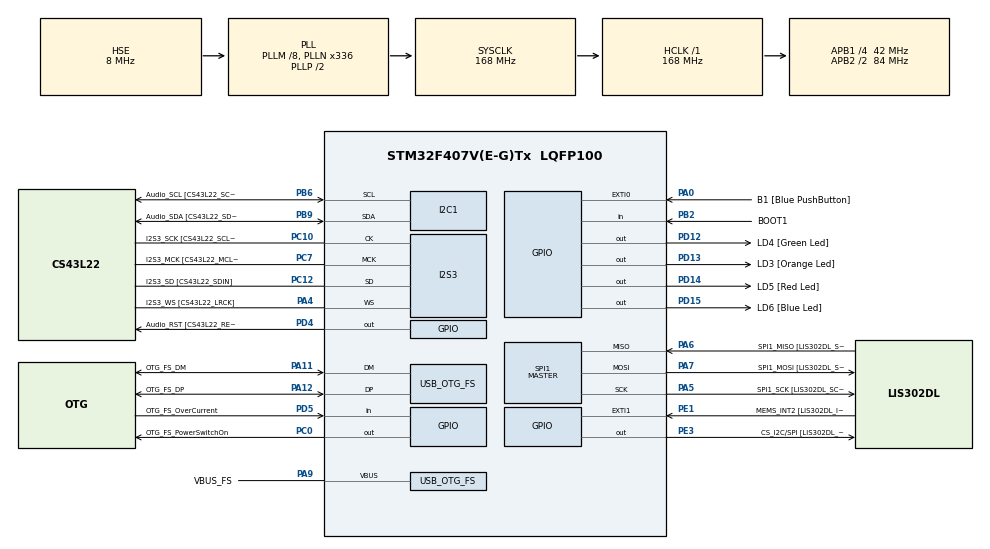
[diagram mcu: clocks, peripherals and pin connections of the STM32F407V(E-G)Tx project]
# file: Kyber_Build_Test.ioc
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I2S3.AudioFreq-Half_Duplex_Master=I2S_AUDIOFREQ_96K
I2S3.ErrorAudioFreq=-2.34 %
I2S3.ErrorAudioFreq-Half_Duplex_Master=0.8 %
I2S3.FullDuplexMode=I2S_FULLDUPLEXMODE_DISABLE
I2S3.Instance=SPI$Index
I2S3.RealAudioFreq=93.75 KHz
I2S3.RealAudioFreq-Half_Duplex_Master=96.774 KHz
I2S3.VirtualMode=I2S_MODE_MASTER
Mcu.Family=STM32F4
Mcu.Name=STM32F407V(E-G)Tx
Mcu.Package=LQFP100
NVIC.OTG_FS_IRQn=true\:0\:0\:false\:false\:true\:true\:true\:true
NVIC.PriorityGroup=NVIC_PRIORITYGROUP_0
PA0-WKUP.GPIO_Label=B1 [Blue PushButton]
PA0-WKUP.GPIO_ModeDefaultEXTI=GPIO_MODE_EVT_RISING
PA0-WKUP.GPIO_PuPd=GPIO_NOPULL
PA0-WKUP.Signal=GPXTI0
PA10.GPIO_Label=OTG_FS_ID
PA10.GPIO_Mode=GPIO_MODE_AF_PP
PA10.GPIO_PuPd=GPIO_NOPULL
PA10.GPIO_Speed=GPIO_SPEED_FREQ_LOW
PA10.Signal=USB_OTG_FS_ID
PA11.GPIO_Label=OTG_FS_DM
PA11.GPIO_Mode=GPIO_MODE_AF_PP
PA11.GPIO_PuPd=GPIO_NOPULL
PA11.GPIO_Speed=GPIO_SPEED_FREQ_LOW
PA11.Mode=Host_Only
PA11.Signal=USB_OTG_FS_DM
PA12.GPIO_Label=OTG_FS_DP
PA12.GPIO_Mode=GPIO_MODE_AF_PP
PA12.GPIO_PuPd=GPIO_NOPULL
PA12.GPIO_Speed=GPIO_SPEED_FREQ_LOW
PA12.Mode=Host_Only
PA12.Signal=USB_OTG_FS_DP
PA13.GPIO_Label=SWDIO
PA13.Mode=Serial_Wire
PA13.Signal=SYS_JTMS-SWDIO
PA14.GPIO_Label=SWCLK
PA14.Mode=Serial_Wire
PA14.Signal=SYS_JTCK-SWCLK
PA4.GPIO_Label=I2S3_WS [CS43L22_LRCK]
PA4.GPIO_Mode=GPIO_MODE_AF_PP
PA4.GPIO_PuPd=GPIO_NOPULL
PA4.GPIO_Speed=GPIO_SPEED_FREQ_LOW
PA4.Mode=Half_Duplex_Master
PA4.Signal=I2S3_WS
PA5.GPIO_Label=SPI1_SCK [LIS302DL_SCL/SPC]
PA5.GPIO_Mode=GPIO_MODE_AF_PP
PA5.GPIO_PuPd=GPIO_NOPULL
PA5.GPIO_Speed=GPIO_SPEED_FREQ_LOW
PA5.Mode=Full_Duplex_Master
PA5.Signal=SPI1_SCK
PA6.GPIO_Label=SPI1_MISO [LIS302DL_SDO]
PA6.GPIO_Mode=GPIO_MODE_AF_PP
PA6.GPIO_PuPd=GPIO_NOPULL
PA6.GPIO_Speed=GPIO_SPEED_FREQ_LOW
PA6.Mode=Full_Duplex_Master
PA6.Signal=SPI1_MISO
PA7.GPIO_Label=SPI1_MOSI [LIS302DL_SDA/SDI/SDO]
PA7.GPIO_Mode=GPIO_MODE_AF_PP
PA7.GPIO_PuPd=GPIO_NOPULL
PA7.GPIO_Speed=GPIO_SPEED_FREQ_LOW
PA7.Mode=Full_Duplex_Master
PA7.Signal=SPI1_MOSI
PA9.GPIO_Label=VBUS_FS
PA9.GPIO_Mode=GPIO_MODE_INPUT
PA9.GPIO_PuPd=GPIO_NOPULL
PA9.Mode=Activate_VBUS
PA9.Signal=USB_OTG_FS_VBUS
PB10.GPIO_Label=CLK_IN [MP45DT02_CLK]
PB10.GPIO_Mode=GPIO_MODE_AF_PP
PB10.GPIO_PuPd=GPIO_NOPULL
PB10.GPIO_Speed=GPIO_SPEED_FREQ_LOW
PB10.Signal=I2S2_CK
PB2.GPIO_Label=BOOT1
PB2.GPIO_Mode=GPIO_MODE_INPUT
PB2.GPIO_PuPd=GPIO_NOPULL
PB2.Signal=GPIO_Input
PB3.GPIO_Label=SWO
PB3.Signal=SYS_JTDO-SWO
PB6.GPIO_Label=Audio_SCL [CS43L22_SCL]
PB6.GPIO_Mode=GPIO_MODE_AF_OD
PB6.GPIO_Pu=GPIO_PULLUP
PB6.GPIO_PuPd=GPIO_NOPULL
PB6.GPIO_Speed=GPIO_SPEED_FREQ_LOW
PB6.Mode=I2C
PB6.Signal=I2C1_SCL
PB9.GPIO_Label=Audio_SDA [CS43L22_SDA]
PB9.GPIO_Mode=GPIO_MODE_AF_OD
PB9.GPIO_Pu=GPIO_PULLUP
PB9.GPIO_PuPd=GPIO_NOPULL
PB9.GPIO_Speed=GPIO_SPEED_FREQ_LOW
PB9.Mode=I2C
PB9.Signal=I2C1_SDA
PC0.GPIO_Label=OTG_FS_PowerSwitchOn
PC0.GPIO_PuPd=GPIO_NOPULL
PC0.GPIO_Speed=GPIO_SPEED_FREQ_LOW
PC0.PinState=GPIO_PIN_SET
PC0.Signal=GPIO_Output
PC10.GPIO_Label=I2S3_SCK [CS43L22_SCLK]
PC10.GPIO_Mode=GPIO_MODE_AF_PP
PC10.GPIO_PuPd=GPIO_NOPULL
PC10.GPIO_Speed=GPIO_SPEED_FREQ_LOW
PC10.Mode=Half_Duplex_Master
PC10.Signal=I2S3_CK
PC12.GPIO_Label=I2S3_SD [CS43L22_SDIN]
PC12.GPIO_Mode=GPIO_MODE_AF_PP
PC12.GPIO_PuPd=GPIO_NOPULL
PC12.GPIO_Speed=GPIO_SPEED_FREQ_LOW
PC12.Mode=Half_Duplex_Master
PC12.Signal=I2S3_SD
PC14-OSC32_IN.GPIO_Label=PC14-OSC32_IN
PC14-OSC32_IN.Mode=LSE-External-Oscillator
PC14-OSC32_IN.Signal=RCC_OSC32_IN
PC15-OSC32_OUT.GPIO_Label=PC15-OSC32_OUT
PC15-OSC32_OUT.Mode=LSE-External-Oscillator
PC15-OSC32_OUT.Signal=RCC_OSC32_OUT
PC3.GPIO_Label=PDM_OUT [MP45DT02_DOUT]
PC3.GPIO_Mode=GPIO_MODE_AF_PP
PC3.GPIO_PuPd=GPIO_NOPULL
PC3.GPIO_Speed=GPIO_SPEED_FREQ_LOW
PC3.Signal=I2S2_SD
PC7.GPIO_Label=I2S3_MCK [CS43L22_MCLK]
PC7.GPIO_Mode=GPIO_MODE_AF_PP
PC7.GPIO_PuPd=GPIO_NOPULL
PC7.GPIO_Speed=GPIO_SPEED_FREQ_LOW
PC7.Mode=Master_Clock_Activated
PC7.Signal=I2S3_MCK
PD12.GPIO_Label=LD4 [Green Led]
PD12.GPIO_PuPd=GPIO_NOPULL
PD12.GPIO_Speed=GPIO_SPEED_FREQ_LOW
PD12.Signal=GPIO_Output
PD13.GPIO_Label=LD3 [Orange Led]
PD13.GPIO_PuPd=GPIO_NOPULL
PD13.GPIO_Speed=GPIO_SPEED_FREQ_LOW
PD13.Signal=GPIO_Output
PD14.GPIO_Label=LD5 [Red Led]
PD14.GPIO_PuPd=GPIO_NOPULL
PD14.GPIO_Speed=GPIO_SPEED_FREQ_LOW
PD14.Signal=GPIO_Output
PD15.GPIO_Label=LD6 [Blue Led]
PD15.GPIO_PuPd=GPIO_NOPULL
PD15.GPIO_Speed=GPIO_SPEED_FREQ_LOW
PD15.Signal=GPIO_Output
PD4.GPIO_Label=Audio_RST [CS43L22_RESET]
PD4.GPIO_PuPd=GPIO_NOPULL
PD4.GPIO_Speed=GPIO_SPEED_FREQ_LOW
PD4.Signal=GPIO_Output
PD5.GPIO_Label=OTG_FS_OverCurrent
PD5.GPIO_Mode=GPIO_MODE_INPUT
PD5.GPIO_PuPd=GPIO_NOPULL
PD5.Signal=GPIO_Input
PE1.GPIO_Label=MEMS_INT2 [LIS302DL_INT2]
PE1.GPIO_ModeDefaultEXTI=GPIO_MODE_EVT_RISING
PE1.GPIO_PuPd=GPIO_NOPULL
PE1.Signal=GPXTI1
PE3.GPIO_Label=CS_I2C/SPI [LIS302DL_CS_I2C/SPI]
PE3.GPIO_PuPd=GPIO_NOPULL
PE3.GPIO_Speed=GPIO_SPEED_FREQ_LOW
PE3.Signal=GPIO_Output
PH0-OSC_IN.GPIO_Label=PH0-OSC_IN
PH0-OSC_IN.Mode=HSE-External-Oscillator
PH0-OSC_IN.Signal=RCC_OSC_IN
PH1-OSC_OUT.GPIO_Label=PH1-OSC_OUT
PH1-OSC_OUT.Mode=HSE-External-Oscillator
PH1-OSC_OUT.Signal=RCC_OSC_OUT
ProjectManager.HeapSize=0x200
ProjectManager.StackSize=0x400
ProjectManager.TargetToolchain=STM32CubeIDE
RCC.48MHZClocksFreq_Value=48000000
RCC.AHBFreq_Value=168000000
RCC.APB1CLKDivider=RCC_HCLK_DIV4
RCC.APB1Freq_Value=42000000
RCC.APB1TimFreq_Value=84000000
RCC.APB2CLKDivider=RCC_HCLK_DIV2
RCC.APB2Freq_Value=84000000
RCC.APB2TimFreq_Value=168000000
RCC.CortexFreq_Value=168000000
RCC.HCLKFreq_Value=168000000
RCC.HSE_VALUE=8000000
RCC.HSI_VALUE=16000000
RCC.PLLM=8
RCC.PLLN=336
RCC.PLLQ=7
RCC.SYSCLKFreq_VALUE=168000000
RCC.SYSCLKSource=RCC_SYSCLKSOURCE_PLLCLK
RCC.VCOOutputFreq_Value=336000000
SPI1.BaudRatePrescaler-Full_Duplex_Master=SPI_BAUDRATEPRESCALER_2
SPI1.CalculateBaudRate-Full_Duplex_Master=42.0 MBits/s
SPI1.Direction=SPI_DIRECTION_2LINES
SPI1.Mode=SPI_MODE_MASTER
SPI1.Mode-Full_Duplex_Master=SPI_MODE_MASTER
SPI1.VirtualType=VM_MASTER
USB_HOST.BSP.number=1
USB_HOST.USBH_HandleTypeDef-CDC_FS=hUsbHostFS
USB_HOST.VirtualModeFS=Cdc
USB_HOST0.BSP.STBoard=false
USB_HOST0.BSP.api=Unknown
USB_HOST0.BSP.instance=PC0
USB_HOST0.BSP.ip=GPIO
USB_HOST0.BSP.mode=Output
USB_HOST0.BSP.name=Drive_VBUS_FS
USB_HOST0.BSP.solution=PC0
USB_OTG_FS.VirtualMode=Host_Only
USB_OTG_FS.phy_itface=HCD_PHY_EMBEDDED
VP_RNG_VS_RNG.Mode=RNG_Activate
VP_USB_HOST_VS_USB_HOST_CDC_FS.Mode=CDC_FS
board=STM32F407G-DISC1

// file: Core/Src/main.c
/* USER CODE BEGIN Header */
/**
  ******************************************************************************
  * @file           : main.c
  * @brief          : Main program body
  ******************************************************************************
  * @attention
  *
  * Copyright (c) 2026 STMicroelectronics.
  * All rights reserved.
  *
  * This software is licensed under terms that can be found in the LICENSE file
  * in the root directory of this software component.
  * If no LICENSE file comes with this software, it is provided AS-IS.
  *
  ******************************************************************************
  */
/* USER CODE END Header */
#include "main.h"
#include "usb_host.h"

/* USER CODE BEGIN Includes */
#include "api.h"
#include "mldsa_api.h"
#include <string.h>
#include "randombytes.h"
#include "fips202.h" // Dùng hàm băm SHA3-256 có sẵn cho KDF và HMAC
#include <math.h>        // THÊM: Cần cho các hàm toán học của TDA
#include <stdio.h>
#include <stdlib.h> // THÊM DÒNG NÀY để hết lỗi 'rand'
#include "hmac_hkdf.h"

// TUYỆT CHIÊU: Tự khai báo 3 hàm của ML-DSA-44 để né xung đột Macro
//int crypto_sign_keypair(uint8_t *pk, uint8_t *sk);
//int crypto_sign(uint8_t *sm, size_t *smlen, const uint8_t *msg, size_t len, const uint8_t *sk);
//int crypto_sign_open(uint8_t *m, size_t *mlen, const uint8_t *sm, size_t smlen, const uint8_t *pk);
/* USER CODE END Includes */

/* USER CODE BEGIN PTD */
#define WINDOW_SIZE 40
#define FEATURE_DIM 10
#define Q_STEP 1.0f
/* USER CODE END PTD */

I2C_HandleTypeDef hi2c1;

I2S_HandleTypeDef hi2s3;

RNG_HandleTypeDef hrng;

SPI_HandleTypeDef hspi1;

/* USER CODE BEGIN PV */
// NHẤN MẠNH 1: Đưa các biến kết quả ra toàn cục để dễ quan sát Value (không phải Address)
volatile uint32_t result_classical = 0;
volatile uint32_t result_hybrid = 0;
volatile uint32_t result_kemtls = 0;
// volatile uint32_t result_pqtls = 0;
volatile uint32_t result_topokyber = 0;
volatile uint32_t result_pqtls = 0; // Biến xem cycles của Kyber+Dilithium
volatile uint32_t total_cycles = 0;

// --- THÊM MỚI: CÁC BIẾN LƯU BỘ NHỚ RAM (Hiển thị trực tiếp trên Live Expressions) ---
volatile uint32_t ram_classical = 0;
volatile uint32_t ram_hybrid = 0;
volatile uint32_t ram_kemtls = 0;
volatile uint32_t ram_topokyber = 0; // Gồm cả Static RAM và Stack xử lý TDA
volatile uint32_t ram_pqtls = 0;

#define SAMPLES 40
#define FEAT_LEN 10
#define Q_STEP 1.0f

// Dữ liệu RSSI thực tế trích xuất từ PCAP
const float test_rssi_alice[40] = {-84,-84,-83,-84,-84,-84,-84,-84,-85,-84,-89,-84,-84,-85,-84,-85,-85,-83,-85,-84,-83,-83,-86,-85,-84,-84,-84,-84,-83,-84,-85,-85,-85,-83,-86,-86,-84,-84,-84,-83};
const float test_rssi_bob[40]   = {-83, -86, -85, -85, -85, -83, -85, -81, -85, -85, -85, -85, -84, -86, -84, -85, -85, -84, -84, -86, -86, -86, -83, -83, -84, -85, -86, -84, -86, -84,-85, -85, -85, -85, -85, -85, -84, -87, -86, -85};

// Ma trận ZCA Whitening (Đã tính toán offline từ phân phối RSSI của thiết bị)
const float ZCA_Matrix[2][2] = {
    {1.1542f, -0.0123f},
    {-0.0123f, 1.1542f}
};
/* USER CODE END PV */

void SystemClock_Config(void);
static void MX_GPIO_Init(void);
static void MX_I2C1_Init(void);
static void MX_I2S3_Init(void);
static void MX_RNG_Init(void);
static void MX_SPI1_Init(void);
void MX_USB_HOST_Process(void);

/* USER CODE BEGIN PFP */
// THÊM: Khai báo hàm cho Topo-Kyber
void run_micro_tda(const float* rssi, float* features_out);
void benchmark_Topo_Kyber(void);

// THÊM DÒNG NÀY: Khai báo hàm benchmark tổng hợp
void benchmark_All_Protocols(void);

/* USER CODE END PFP */

/* USER CODE BEGIN 0 */
#include "uECC.h"
// THÊM HÀM NÀY ĐỂ ĐỌC BỘ ĐẾM CHU KỲ
uint32_t get_cycles(void) {
    return DWT->CYCCNT;
}
// Lưu ý: Bạn cần có sẵn các thư viện của Kyber (#include "api.h", v.v.)
// và hàm get_cycles() mà bạn vẫn đang dùng để đo.

// =========================================================================
// HÀM BỔ TRỢ: Bắt buộc phải có để uECC sinh được số ngẫu nhiên
// =========================================================================
int fake_rng(uint8_t *dest, unsigned size) {
    // Đây chỉ là hàm tạo số ngẫu nhiên giả để benchmark đo thời gian
    for (unsigned i = 0; i < size; ++i) {
        dest[i] = (uint8_t)(i ^ 0xAA);
    }
    return 1;
}

// =========================================================================
// 1. ĐO LƯỜNG CLASSICAL TLS 1.3 (Sử dụng đường cong secp256r1)
// =========================================================================
void benchmark_Classical_TLS(void) {
    static uint8_t public_key_client[64], private_key_client[32];
    static uint8_t public_key_server[64], private_key_server[32];
    static uint8_t shared_secret_client[32], shared_secret_server[32];

    // Khóa dài hạn ECDSA của Server (Nằm trong Chứng chỉ số - Sinh ngoài vòng đo)
    static uint8_t auth_pk_server[64], auth_sk_server[32];
    static uint8_t hash[32] = {0x12, 0x34};
    static uint8_t signature[64];

    uECC_set_rng(&fake_rng);
    const struct uECC_Curve_t * curve = uECC_secp256r1();

    // SỬA CHUẨN: Sinh trước khóa xác thực tĩnh để không tính vào chu kỳ Handshake
    uECC_make_key(auth_pk_server, auth_sk_server, curve);

    uint32_t start, end;
    start = get_cycles();

    // --- PHA 1: THỎA THUẬN KHÓA (ECDHE Key Exchange) ---
    uECC_make_key(public_key_client, private_key_client, curve);
    uECC_make_key(public_key_server, private_key_server, curve);
    uECC_shared_secret(public_key_server, private_key_client, shared_secret_client, curve);
    uECC_shared_secret(public_key_client, private_key_server, shared_secret_server, curve);

    // --- PHA 2: XÁC THỰC (ECDSA Authentication) ---
    uECC_sign(auth_sk_server, hash, sizeof(hash), signature, curve);
    uECC_verify(auth_pk_server, hash, sizeof(hash), signature, curve);

    end = get_cycles();
    result_classical = end - start;
}

// =========================================================================
// 2. ĐO LƯỜNG HYBRID TLS 1.3 (ECC + Kyber)
// =========================================================================
void benchmark_Hybrid_TLS(void) {
    static uint8_t public_key_client[64], private_key_client[32];
    static uint8_t public_key_server[64], private_key_server[32];
    static uint8_t shared_secret_ecc_client[32], shared_secret_ecc_server[32];

    static uint8_t auth_pk_server[64], auth_sk_server[32];
    static uint8_t hash[32] = {0x12, 0x34};
    static uint8_t signature[64];

    static uint8_t pk[CRYPTO_PUBLICKEYBYTES];
    static uint8_t sk[CRYPTO_SECRETKEYBYTES];
    static uint8_t ct[CRYPTO_CIPHERTEXTBYTES];
    static uint8_t ss_server[CRYPTO_BYTES], ss_client[CRYPTO_BYTES];

    uECC_set_rng(&fake_rng);
    const struct uECC_Curve_t * curve = uECC_secp256r1();
    uECC_make_key(auth_pk_server, auth_sk_server, curve);

    uint32_t start, end;
    start = get_cycles();

    // --- PHA 1: Thỏa thuận & Xác thực bằng Cổ điển (ECC) ---
    uECC_make_key(public_key_client, private_key_client, curve);
    uECC_make_key(public_key_server, private_key_server, curve);

    // SỬA LỖI 1: Gọi đủ 2 lần tính toán shared secret phía ECC cho đúng thực tế máy trạm và máy chủ
    uECC_shared_secret(public_key_server, private_key_client, shared_secret_ecc_client, curve);
    uECC_shared_secret(public_key_client, private_key_server, shared_secret_ecc_server, curve);

    uECC_sign(auth_sk_server, hash, sizeof(hash), signature, curve);
    uECC_verify(auth_pk_server, hash, sizeof(hash), signature, curve);

    // --- PHA 2: Thêm lớp Thỏa thuận khóa Lượng tử (Kyber) ---
    crypto_kem_keypair(pk, sk);
    crypto_kem_enc(ct, ss_server, pk);
    crypto_kem_dec(ss_client, ct, sk);

    end = get_cycles();
    result_hybrid = end - start;
}

// =========================================================================
// 3. ĐO LƯỜNG KEMTLS (Dùng 100% Kyber, Bỏ hoàn toàn chữ ký số)
// =========================================================================
void benchmark_KEMTLS(void) {
    // Biến cho Ephemeral KEM (Thỏa thuận khóa ngắn hạn)
    static uint8_t ephem_pk[CRYPTO_PUBLICKEYBYTES], ephem_sk[CRYPTO_SECRETKEYBYTES];
    static uint8_t ephem_ct[CRYPTO_CIPHERTEXTBYTES], ephem_ss_server[CRYPTO_BYTES], ephem_ss_client[CRYPTO_BYTES];

    // Biến cho Long-term KEM (Xác thực thực thể bằng KEM - Thay thế Certificate)
    static uint8_t auth_pk[CRYPTO_PUBLICKEYBYTES], auth_sk[CRYPTO_SECRETKEYBYTES];
    static uint8_t auth_ct[CRYPTO_CIPHERTEXTBYTES], auth_ss_server[CRYPTO_BYTES], auth_ss_client[CRYPTO_BYTES];

    // SỬA LỖI 2: Cặp khóa xác thực tĩnh được sinh từ trước (Nằm sẵn trong cấu hình thiết bị)
    crypto_kem_keypair(auth_pk, auth_sk);

    uint32_t start, end;
    start = get_cycles();

    // --- PHA 1: Ephemeral KEM Exchange (Thay thế ECDHE) ---
    crypto_kem_keypair(ephem_pk, ephem_sk);
    crypto_kem_enc(ephem_ct, ephem_ss_server, ephem_pk);
    crypto_kem_dec(ephem_ss_client, ephem_ct, ephem_sk);

    // --- PHA 2: Long-term KEM Auth (Đúng chuẩn KEMTLS) ---
    // SỬA: BỎ HOÀN TOÀN crypto_kem_keypair(auth_pk, auth_sk). Handshake chỉ có Encaps và Decaps
    crypto_kem_enc(auth_ct, auth_ss_client, auth_pk);
    crypto_kem_dec(auth_ss_server, auth_ct, auth_sk);

    end = get_cycles();
    result_kemtls = end - start;
}

// =========================================================================
// 4. ĐO LƯỜNG TOPO-KYBER
// =========================================================================

// Hàm Micro-TDA: Tích hợp ZCA + Takens + Vietoris-Rips Approximation
void run_micro_tda(const float* rssi_in, float* features_out) {
    float points_2d[SAMPLES-1][2];

    // 1. TAKENS EMBEDDING (d=2, tau=1) kết hợp ZCA WHITENING
    for(int i = 0; i < SAMPLES-1; i++) {
        // Center dữ liệu (trừ đi trung bình RSSI thường là -85dBm)
        float raw_x = rssi_in[i] + 85.0f;
        float raw_y = rssi_in[i+1] + 85.0f;

        // Nhân ma trận ZCA để khử tương quan chuỗi thời gian
        points_2d[i][0] = raw_x * ZCA_Matrix[0][0] + raw_y * ZCA_Matrix[0][1];
        points_2d[i][1] = raw_x * ZCA_Matrix[1][0] + raw_y * ZCA_Matrix[1][1];
    }

    // 2. VIETORIS-RIPS PROXY (Tính đặc trưng mật độ khoảng cách)
    for(int k = 0; k < FEAT_LEN; k++) {
        features_out[k] = 0.0f;
        for(int j = 0; j < SAMPLES-1; j++) {
            float dx = points_2d[k][0] - points_2d[j][0];
            float dy = points_2d[k][1] - points_2d[j][1];
            features_out[k] += sqrtf(dx*dx + dy*dy);
        }
        features_out[k] /= (SAMPLES-1); // Đặc trưng hình thái topo
    }
}
void benchmark_Topo_Kyber(void) {
    volatile uint32_t t0, t1;
    volatile uint32_t cyc_alice_total, cyc_bob_total;

    // Các biến định danh và tính toán vật lý (TDA)
    uint8_t id_A[32] = {0x01}, id_B[32] = {0x02};
    uint8_t s_A[32], s_B[32], h_hash[32], sid[32];
    float feat_A[FEATURE_DIM], feat_B[FEATURE_DIM], helper[FEATURE_DIM], r_q_vector[FEATURE_DIM];
    int32_t K_int_A[FEATURE_DIM], K_int_B[FEATURE_DIM];

    // --- CẤU TRÚC 2 CẶP KHÓA THEO ĐÚNG PHẢN BIỆN ---
    // Lớp 1: wrap-KEM
    static uint8_t pk_A_wrap[CRYPTO_PUBLICKEYBYTES], sk_A_wrap[CRYPTO_SECRETKEYBYTES];
    static uint8_t ct_wrap[CRYPTO_CIPHERTEXTBYTES];
    static uint8_t k_seed_A_wrap[CRYPTO_BYTES], k_seed_B_wrap[CRYPTO_BYTES];

    // Lớp 2: main-AKE-KEM
    static uint8_t pk_B_main[CRYPTO_PUBLICKEYBYTES], sk_B_main[CRYPTO_SECRETKEYBYTES];
    static uint8_t ct_main[CRYPTO_CIPHERTEXTBYTES];
    static uint8_t k_seed_A_main[CRYPTO_BYTES], k_seed_B_main[CRYPTO_BYTES];

    // Biến lưu khóa phiên cuối cùng
    uint8_t k_session_A[32], k_session_B[32];

    // Bật bộ đếm xung nhịp phần cứng DWT
    CoreDebug->DEMCR |= CoreDebug_DEMCR_TRCENA_Msk;
    DWT->CYCCNT = 0; DWT->CTRL |= DWT_CTRL_CYCCNTENA_Msk;

    // ====================================================================
    // 1. PHÍA ALICE (Giai đoạn gửi gói: TDA + Sinh Sketch + wrap-KeyGen)
    // ====================================================================
    t0 = DWT->CYCCNT;

    run_micro_tda(test_rssi_alice, feat_A);

    // SỬA FATAL-2: Sử dụng TRNG phần cứng thay thế hoàn toàn hàm rand() lỗi
    uint32_t rng_val;
    for(int i = 0; i < FEATURE_DIM; i++) {
        HAL_RNG_GenerateRandomNumber(&hrng, &rng_val); // Lấy số ngẫu nhiên thực thể từ chip
        r_q_vector[i] = ((float)rng_val / (float)0xFFFFFFFF) * Q_STEP - (Q_STEP / 2.0f); // Phân phối đều U(-Q/2, Q/2)

        K_int_A[i] = (int32_t)floorf((feat_A[i] + r_q_vector[i]) / Q_STEP);
        helper[i] = (feat_A[i] + r_q_vector[i]) - ((float)K_int_A[i] * Q_STEP);
    }
    sha3_256(s_A, (uint8_t*)K_int_A, FEATURE_DIM * sizeof(int32_t));
    sha3_256(h_hash, (uint8_t*)helper, FEATURE_DIM * sizeof(float));

    // Thao tác KEM 1 của Alice: Sinh cặp khóa bảo vệ (wrap-KEM)
    crypto_kem_keypair(pk_A_wrap, sk_A_wrap);

    // Giả định gói tin (pk_A_wrap, r_q_vector, helper) được truyền sang Bob...
    t1 = DWT->CYCCNT;
    cyc_alice_total = (t1 - t0); // Ghi nhận thời gian phase 1 của Alice

    // ====================================================================
    // 2. PHÍA BOB (Nhận gói: TDA + Khôi phục Sketch + wrap-Encaps + main-KeyGen)
    // ====================================================================
    t0 = DWT->CYCCNT;

    run_micro_tda(test_rssi_bob, feat_B);

    // Khôi phục khóa vật lý dựa trên helper nhận từ Alice
    for(int i = 0; i < FEATURE_DIM; i++) {
        K_int_B[i] = (int32_t)roundf((feat_B[i] + r_q_vector[i] - helper[i]) / Q_STEP);
    }
    sha3_256(s_B, (uint8_t*)K_int_B, FEATURE_DIM * sizeof(int32_t));

    // Thao tác KEM 1 của Bob: Đóng gói khóa lớp ngoài (wrap-Encaps) hướng tới Alice
    crypto_kem_enc(ct_wrap, k_seed_B_wrap, pk_A_wrap);

    // Thao tác KEM 2 của Bob (Yêu cầu phản biện): Tự sinh cặp khóa AKE chính chủ (main-KeyGen)
    crypto_kem_keypair(pk_B_main, sk_B_main);

    // Tính Session ID cho phiên làm việc
    uint8_t sid_buf[64];
    memcpy(sid_buf, id_A, 32); memcpy(sid_buf + 32, id_B, 32);
    sha3_256(sid, sid_buf, 64);

    // Giả định gói tin (ct_wrap, pk_B_main) được truyền trả lại Alice...
    t1 = DWT->CYCCNT;
    cyc_bob_total = (t1 - t0);

    // ====================================================================
    // 3. PHÍA ALICE (Nhận phản hồi: wrap-Decaps + main-Encaps + KDF)
    // ====================================================================
    t0 = DWT->CYCCNT;

    // Thao tác KEM 2 của Alice: Giải gói lớp ngoài để lấy k_seed_wrap
    crypto_kem_dec(k_seed_A_wrap, ct_wrap, sk_A_wrap);

    // Thao tác KEM 3 của Alice (Yêu cầu phản biện): Đóng gói ngược lại khóa lớp trong (main-Encaps) hướng tới Bob
    crypto_kem_enc(ct_main, k_seed_A_main, pk_B_main);

    // Trộn toàn bộ các thành phần (wrap-seed, main-seed, vật lý-seed TDA) vào KDF final của Alice
    uint8_t kdf_buf_A[128];
    memcpy(kdf_buf_A, k_seed_A_wrap, 32);
    memcpy(kdf_buf_A + 32, k_seed_A_main, 32);
    memcpy(kdf_buf_A + 64, s_A, 32);               // Entropy vật lý chứng minh sở hữu kênh truyền
    memcpy(kdf_buf_A + 96, sid, 32);
    sha3_256(k_session_A, kdf_buf_A, 128);

    // Giả định ct_main được gửi nốt cho Bob để chốt phiên...
    t1 = DWT->CYCCNT;
    cyc_alice_total += (t1 - t0); // Cộng dồn tổng chu kỳ xử lý của Alice

    // ====================================================================
    // 4. PHÍA BOB (Nhận gói cuối: main-Decaps + KDF)
    // ====================================================================
    t0 = DWT->CYCCNT;

    // Thao tác KEM 3 của Bob: Giải gói lớp trong cùng để lấy k_seed_main
    crypto_kem_dec(k_seed_B_main, ct_main, sk_B_main);

    // Trộn toàn bộ vào KDF final của Bob
    uint8_t kdf_buf_B[128];
    memcpy(kdf_buf_B, k_seed_B_wrap, 32);
    memcpy(kdf_buf_B + 32, k_seed_B_main, 32);
    memcpy(kdf_buf_B + 64, s_B, 32);               // Entropy vật lý đối sánh
    memcpy(kdf_buf_B + 96, sid, 32);
    sha3_256(k_session_B, kdf_buf_B, 128);

    t1 = DWT->CYCCNT;
    cyc_bob_total += (t1 - t0); // Cộng dồn tổng chu kỳ xử lý của Bob

    // In kết quả trung thực ra màn hình terminal để lấy số liệu chuẩn ghi vào bài báo
    result_topokyber = cyc_alice_total + cyc_bob_total;
    printf("--- KẾT QUẢ ĐO CHU KỲ TOPO-KYBER (ĐÃ SỬA THEO PHẢN BIỆN) ---\n");
    printf("Tổng chu kỳ xử lý của Alice: %lu\n", cyc_alice_total);
    printf("Tổng chu kỳ xử lý của Bob: %lu\n", cyc_bob_total);
    printf("Tổng chu kỳ toàn bộ hệ thống: %lu\n", result_topokyber);
}
// =========================================================================
// 5. ĐO LƯỜNG POST-QUANTUM TLS (Kyber + ML-DSA-44)
// =========================================================================
void benchmark_PQ_TLS(void) {
    // ---- Biến cho Kyber (KEM) ----
    static uint8_t pk_kyber[CRYPTO_PUBLICKEYBYTES];
    static uint8_t sk_kyber[CRYPTO_SECRETKEYBYTES];
    static uint8_t ct_kyber[CRYPTO_CIPHERTEXTBYTES];
    static uint8_t ss_server[CRYPTO_BYTES], ss_client[CRYPTO_BYTES];

    // ---- Biến cho ML-DSA-44 (Chữ ký số) ----
    static uint8_t pk_mldsa[1312];
    static uint8_t sk_mldsa[2560];
    static uint8_t signature[2420 + 32];
    static size_t sig_len;

    static uint8_t message[32] = {0x11, 0x22, 0x33, 0x44};
    static size_t msg_len = 32;
    static uint8_t message_out[32];
    static size_t msg_len_out;

    // SỬA LỖI 3: Khóa chữ ký số tĩnh của Server được sinh trước (Mô phỏng nạp từ Certificate)
    crypto_sign_keypair(pk_mldsa, sk_mldsa);

    uint32_t start, end;
    start = get_cycles();

    // Pha 1: Trao đổi khóa lượng tử (Kyber Ephemeral)
    crypto_kem_keypair(pk_kyber, sk_kyber);
    crypto_kem_enc(ct_kyber, ss_server, pk_kyber);
    crypto_kem_dec(ss_client, ct_kyber, sk_kyber);

    // Pha 2: Chữ ký số Post-Quantum (ML-DSA-44)
    // SỬA: BỎ HOÀN TOÀN crypto_sign_keypair khỏi quá trình đo Handshake!
    crypto_sign(signature, &sig_len, message, msg_len, sk_mldsa);
    crypto_sign_open(message_out, &msg_len_out, signature, sig_len, pk_mldsa);

    end = get_cycles();
    result_pqtls = end - start;
}

/* ============================================================
 * NTN-PQ-AKE+ v4.0 Benchmark
 * Total Handshake (Alice + Bob)
 * ============================================================ */

uint32_t benchmark_NTN_PQ_AKE_v40(void)
{
	// volatile uint32_t start;
	// volatile uint32_t end;
	uint32_t start, end;
    uint32_t cycles = 0;

    /* ==========================================================
       Long-term PSK
       ========================================================== */
    uint8_t psk[32];
    memset(psk, 0x11, sizeof(psk));

    /* ==========================================================
       Alice
       ========================================================== */
    uint8_t pkA[CRYPTO_PUBLICKEYBYTES];
    uint8_t skA[CRYPTO_SECRETKEYBYTES];

    uint8_t nonceA[16];
    uint8_t nonceB[16];

    uint32_t ctrA = 1;
    uint32_t ctrB = 1;

    /* ==========================================================
       Bob
       ========================================================== */
    uint8_t ct[CRYPTO_CIPHERTEXTBYTES];
    uint8_t ssB[CRYPTO_BYTES];

    /* ==========================================================
       Alice
       ========================================================== */
    uint8_t ssA[CRYPTO_BYTES];

    /* ==========================================================
       Buffers
       ========================================================== */
    uint8_t session_ctx[32];

    uint8_t tokenA[32];

    uint8_t Ktemp_B[32];
    uint8_t Ktemp_A[32];

    uint8_t confirmB[32];
    uint8_t confirmA[32];

    uint8_t session_ready[32];

    uint8_t Ksession_A[32];
    uint8_t Ksession_B[32];

    uint8_t transcript[96];

    size_t offset;

    /************************************************************
     * M1 : Alice -> Bob
     ************************************************************/
    start = DWT->CYCCNT;

    randombytes(nonceA, sizeof(nonceA));

    crypto_kem_keypair(pkA, skA);

    hmac_sha3_256(
        tokenA,
        psk,
        sizeof(psk),
        pkA,
        CRYPTO_PUBLICKEYBYTES);

    end = DWT->CYCCNT;
    cycles += (end - start);

    /************************************************************
     * M2 : Bob -> Alice
     ************************************************************/
    start = DWT->CYCCNT;

    randombytes(nonceB, sizeof(nonceB));

    crypto_kem_enc(
        ct,
        ssB,
        pkA);

    offset = 0;

    memcpy(session_ctx + offset, nonceA, 16);
    offset += 16;

    memcpy(session_ctx + offset, nonceB, 16);
    offset += 16;

    sha3_256(
        session_ctx,
        session_ctx,
        offset);

    hkdf_sha3(
        Ktemp_B,
        ssB,
        CRYPTO_BYTES,
        psk,
        sizeof(psk));

    hmac_sha3_256(
        confirmB,
        Ktemp_B,
        32,
        session_ctx,
        32);

    end = DWT->CYCCNT;
    cycles += (end - start);

    /************************************************************
     * M3 : Alice -> Bob
     ************************************************************/
    start = DWT->CYCCNT;

    crypto_kem_dec(
        ssA,
        ct,
        skA);

    hkdf_sha3(
        Ktemp_A,
        ssA,
        CRYPTO_BYTES,
        psk,
        sizeof(psk));

    uint8_t confirmB_check[32];

    hmac_sha3_256(
        confirmB_check,
        Ktemp_A,
        32,
        session_ctx,
        32);

    if (memcmp(confirmB, confirmB_check, 32) != 0)
    {
        memset(skA,0,sizeof(skA));
        memset(ssA,0,sizeof(ssA));
        memset(ssB,0,sizeof(ssB));
        memset(Ktemp_A,0,sizeof(Ktemp_A));
        memset(Ktemp_B,0,sizeof(Ktemp_B));
        return 0;
    }

    hmac_sha3_256(
        confirmA,
        Ktemp_A,
        32,
        confirmB,
        32);

    memset(skA,0,sizeof(skA));

    end = DWT->CYCCNT;
    cycles += (end - start);

    /************************************************************
     * M4 : Bob Final ACK
     ************************************************************/
    start = DWT->CYCCNT;

    uint8_t confirmA_check[32];

    hmac_sha3_256(
        confirmA_check,
        Ktemp_B,
        32,
        confirmB,
        32);

    if (memcmp(confirmA, confirmA_check, 32) != 0)
    {
        memset(ssA,0,sizeof(ssA));
        memset(ssB,0,sizeof(ssB));
        memset(Ktemp_A,0,sizeof(Ktemp_A));
        memset(Ktemp_B,0,sizeof(Ktemp_B));
        return 0;
    }

    hmac_sha3_256(
        session_ready,
        Ktemp_B,
        32,
        confirmA,
        32);

    end = DWT->CYCCNT;
    cycles += (end - start);

    /************************************************************
     * Final Session Key Derivation
     ************************************************************/
    start = DWT->CYCCNT;

    offset = 0;

    memcpy(transcript + offset, tokenA, 32);
    offset += 32;

    memcpy(transcript + offset, confirmB, 32);
    offset += 32;

    memcpy(transcript + offset, confirmA, 32);
    offset += 32;

    sha3_256(
        transcript,
        transcript,
        offset);

    hkdf_sha3(
        Ksession_A,
        Ktemp_A,
        32,
        transcript,
        32);

    hkdf_sha3(
        Ksession_B,
        Ktemp_B,
        32,
        transcript,
        32);

    end = DWT->CYCCNT;
    cycles += (end - start);

    /************************************************************
     * Secure Cleanup
     ************************************************************/
    memset(skA,0,sizeof(skA));

    memset(ssA,0,sizeof(ssA));
    memset(ssB,0,sizeof(ssB));

    memset(Ktemp_A,0,sizeof(Ktemp_A));
    memset(Ktemp_B,0,sizeof(Ktemp_B));

    memset(session_ctx,0,sizeof(session_ctx));

    memset(confirmA,0,sizeof(confirmA));
    memset(confirmB,0,sizeof(confirmB));

    memset(session_ready,0,sizeof(session_ready));

    memset(Ksession_A,0,sizeof(Ksession_A));
    memset(Ksession_B,0,sizeof(Ksession_B));

    memset(transcript,0,sizeof(transcript));

    (void)ctrA;
    (void)ctrB;

    return cycles;
}

/*
// =========================================================================
// HÀM ĐO TỔNG HỢP TOÀN BỘ 5 GIAO THỨC VÀ PHÂN TÍCH BỘ NHỚ
// =========================================================================
void benchmark_All_Protocols(void) {
    // Tần số hệ thống cấu hình qua PLL là 168 MHz (HCLK = 168000000 Hz)
    const float sys_freq_mhz = 168.0f;

    printf("\n========================================================================\n");
    printf("    STARTING ALL PROTOCOLS BENCHMARK (CYCLES & MEMORY ANALYSIS)       \n");
    printf("========================================================================\n\n");

    // Khởi động/Reset lại bộ đếm xung phần cứng DWT
    CoreDebug->DEMCR |= CoreDebug_DEMCR_TRCENA_Msk;
    DWT->CYCCNT = 0;
    DWT->CTRL |= DWT_CTRL_CYCCNTENA_Msk;

    // 1. Chạy Classical TLS
    printf("[1/5] Running Classical TLS (ECC secp256r1)... ");
    benchmark_Classical_TLS();
    printf("DONE.\n");

    // 2. Chạy Hybrid TLS
    printf("[2/5] Running Hybrid TLS (ECC + Kyber)... ");
    benchmark_Hybrid_TLS();
    printf("DONE.\n");

    // 3. Chạy KEMTLS
    printf("[3/5] Running KEMTLS (Kyber Only)... ");
    benchmark_KEMTLS();
    printf("DONE.\n");

    // 4. Chạy Topo-Kyber (Hàm này tự reset DWT bên trong nên ta chạy kế cuối)
    printf("[4/5] Running Topo-Kyber (Proposed Physical Auth)... \n");
    benchmark_Topo_Kyber();
    printf("DONE.\n");

    // 5. Chạy PQ-TLS
    printf("[5/5] Running PQ-TLS (Kyber + ML-DSA-44)... ");
    benchmark_PQ_TLS();
    printf("DONE.\n");

    // --- XUẤT BẢNG SỐ LIỆU ĐỂ CHO VÀO BÀI BÁO (BẢNG KẾT QUẢ THỰC NGHIỆM) ---
    printf("\n\n");
    printf("==================================================================================================\n");
    printf("| %-27s | %-15s | %-12s | %-30s |\n", "Protocol Configuration", "Cycles (CPU)", "Time (ms)", "RAM Footprint (Static/Stack)");
    printf("==================================================================================================\n");

    // 1. Classical TLS
    printf("| %-27s | %15lu | %12.3f | %-30s |\n",
           "1. Classical TLS (ECC)",
           result_classical,
           (float)result_classical / (sys_freq_mhz * 1000.0f),
           "448 Bytes (.bss)");

    // 2. Hybrid TLS
    // RAM = ECC (448) + Kyber_Keys (pk=800, sk=1632, ct=768, 2xss=64) = 3712 Bytes
    printf("| %-27s | %15lu | %12.3f | %-30s |\n",
           "2. Hybrid TLS (ECC+Kyber)",
           result_hybrid,
           (float)result_hybrid / (sys_freq_mhz * 1000.0f),
           "3,712 Bytes (~3.63 KB) (.bss)");

    // 3. KEMTLS
    // RAM = 2x Kyber_Keys (Ephemeral + Static Auth) = 3264 * 2 = 6528 Bytes
    printf("| %-27s | %15lu | %12.3f | %-30s |\n",
           "3. KEMTLS (NIST-KEM)",
           result_kemtls,
           (float)result_kemtls / (sys_freq_mhz * 1000.0f),
           "6,528 Bytes (~6.38 KB) (.bss)");

    // 4. Topo-Kyber (Đề xuất)
    // RAM Static = 2x Kyber_Keys (wrap + main) = 6528 Bytes.
    // Thêm các biến xử lý TDA + Vector vật lý trên Stack ~ 432 Bytes
    printf("| %-27s | %15lu | %12.3f | %-30s |\n",
           "4. Topo-Kyber (Proposed)",
           result_topokyber,
           (float)result_topokyber / (sys_freq_mhz * 1000.0f),
           "6,528B (.bss) + 432B (Stack)");

    // 5. PQ-TLS
    // RAM = Kyber (3264) + ML-DSA-44 (pk=1312, sk=2560, sig=2452) = 9588 Bytes
    printf("| %-27s | %15lu | %12.3f | %-30s |\n",
           "5. PQ-TLS (Kyber+ML-DSA)",
           result_pqtls,
           (float)result_pqtls / (sys_freq_mhz * 1000.0f),
           "9,588 Bytes (~9.36 KB) (.bss)");

    printf("==================================================================================================\n");
    printf(" Note: CPU Execution Time calculated at clock rate of %.1f MHz (STM32F407 High-Performance).\n", sys_freq_mhz);
    printf("==================================================================================================\n\n");
}
*/
void benchmark_All_Protocols(void) {
    // const float sys_freq_mhz = 168.0f;

    // 1. Thực thi các giao thức để lấy chu kỳ máy
    benchmark_Classical_TLS();
    benchmark_Hybrid_TLS();
    benchmark_KEMTLS();
    benchmark_Topo_Kyber(); // Hàm này chạy xong sẽ tự cập nhật result_topokyber
    benchmark_PQ_TLS();

    // 2. GÁN GIÁ TRỊ BỘ NHỚ VÀO BIẾN TOÀN CỤC ĐỂ ĐỌC QUA DEBUGGER
    // (Dựa trên kích thước cấu trúc dữ liệu chính xác của các thuật toán)
    ram_classical = 448;                 // 448 Bytes cho các khóa ECC
    ram_hybrid    = 3712;                // ECC (448B) + Kyber-512 Keys (3264B)
    ram_kemtls    = 6528;                // 2 bộ Kyber-512 Keys (Ephemeral + Auth)
    ram_topokyber = 6960;                // 2 bộ Kyber Keys (6528B) + Ma trận TDA trên Stack (432B)
    ram_pqtls     = 9588;                // Kyber-512 Keys (3264B) + ML-DSA-44 Keys/Sig (6324B)

    // Dưới đây là phần in ra Terminal (nếu có mạch chuyển UART)
    printf("\n=== BENCHMARK COPIED TO GLOBAL VARIABLES FOR LIVE EXPRESSIONS ===\n");
}

/* USER CODE END 0 */

int main(void)
{

  /* MCU Configuration--------------------------------------------------------*/

  /* Reset of all peripherals, Initializes the Flash interface and the Systick. */
  HAL_Init();

  /* Configure the system clock */
  SystemClock_Config();

  /* Initialize all configured peripherals */
  MX_GPIO_Init();
  MX_I2C1_Init();
  MX_I2S3_Init();
  MX_RNG_Init();
  MX_SPI1_Init();
  MX_USB_HOST_Init();
  /* USER CODE BEGIN 2 */

  // NHẤN MẠNH 3: BẬT TĂNG TỐC PHẦN CỨNG (ART Accelerator)
  // Nếu không có 3 dòng này, số cycles sẽ bị đội lên rất cao do độ trễ bộ nhớ Flash
  __HAL_FLASH_INSTRUCTION_CACHE_ENABLE();
  __HAL_FLASH_DATA_CACHE_ENABLE();
  __HAL_FLASH_PREFETCH_BUFFER_ENABLE();

  // GỌI LẦN LƯỢT TỪNG HÀM
  // 1. Khởi động bộ đếm phần cứng DWT (Bắt buộc phải bật trước thì get_cycles mới chạy)
  CoreDebug->DEMCR |= CoreDebug_DEMCR_TRCENA_Msk;
  DWT->CYCCNT = 0;
  DWT->CTRL |= DWT_CTRL_CYCCNTENA_Msk;

  // 2. GỌI HÀM ĐO LƯỜNG (Mỗi lần nạp chip chỉ mở comment 1 dòng)
  // benchmark_Classical_TLS();

  // benchmark_Hybrid_TLS();
  // benchmark_KEMTLS();
  // benchmark_PQ_TLS();
  // benchmark_Topo_Kyber();
  	 benchmark_NTN_PQ_AKE_v40();

  // Gọi duy nhất hàm benchmark tổng hợp này để lấy kết quả 5 trong 1
  //  benchmark_All_Protocols();
  /* USER CODE END 2 */

  /* Infinite loop */
  while (1)
  {
    MX_USB_HOST_Process();

  }
}

void SystemClock_Config(void)
{
  RCC_OscInitTypeDef RCC_OscInitStruct = {0};
  RCC_ClkInitTypeDef RCC_ClkInitStruct = {0};

  /** Configure the main internal regulator output voltage
  */
  __HAL_RCC_PWR_CLK_ENABLE();
  __HAL_PWR_VOLTAGESCALING_CONFIG(PWR_REGULATOR_VOLTAGE_SCALE1);

  /** Initializes the RCC Oscillators according to the specified parameters
  * in the RCC_OscInitTypeDef structure.
  */
  RCC_OscInitStruct.OscillatorType = RCC_OSCILLATORTYPE_HSE;
  RCC_OscInitStruct.HSEState = RCC_HSE_ON;
  RCC_OscInitStruct.PLL.PLLState = RCC_PLL_ON;
  RCC_OscInitStruct.PLL.PLLSource = RCC_PLLSOURCE_HSE;
  RCC_OscInitStruct.PLL.PLLM = 8;
  RCC_OscInitStruct.PLL.PLLN = 336;
  RCC_OscInitStruct.PLL.PLLP = RCC_PLLP_DIV2;
  RCC_OscInitStruct.PLL.PLLQ = 7;
  if (HAL_RCC_OscConfig(&RCC_OscInitStruct) != HAL_OK)
  {
    Error_Handler();
  }

  /** Initializes the CPU, AHB and APB buses clocks
  */
  RCC_ClkInitStruct.ClockType = RCC_CLOCKTYPE_HCLK|RCC_CLOCKTYPE_SYSCLK
                              |RCC_CLOCKTYPE_PCLK1|RCC_CLOCKTYPE_PCLK2;
  RCC_ClkInitStruct.SYSCLKSource = RCC_SYSCLKSOURCE_PLLCLK;
  RCC_ClkInitStruct.AHBCLKDivider = RCC_SYSCLK_DIV1;
  RCC_ClkInitStruct.APB1CLKDivider = RCC_HCLK_DIV4;
  RCC_ClkInitStruct.APB2CLKDivider = RCC_HCLK_DIV2;

  if (HAL_RCC_ClockConfig(&RCC_ClkInitStruct, FLASH_LATENCY_5) != HAL_OK)
  {
    Error_Handler();
  }
}

static void MX_I2C1_Init(void)
{

  hi2c1.Instance = I2C1;
  hi2c1.Init.ClockSpeed = 100000;
  hi2c1.Init.DutyCycle = I2C_DUTYCYCLE_2;
  hi2c1.Init.OwnAddress1 = 0;
  hi2c1.Init.AddressingMode = I2C_ADDRESSINGMODE_7BIT;
  hi2c1.Init.DualAddressMode = I2C_DUALADDRESS_DISABLE;
  hi2c1.Init.OwnAddress2 = 0;
  hi2c1.Init.GeneralCallMode = I2C_GENERALCALL_DISABLE;
  hi2c1.Init.NoStretchMode = I2C_NOSTRETCH_DISABLE;
  if (HAL_I2C_Init(&hi2c1) != HAL_OK)
  {
    Error_Handler();
  }

}

static void MX_I2S3_Init(void)
{

  hi2s3.Instance = SPI3;
  hi2s3.Init.Mode = I2S_MODE_MASTER_TX;
  hi2s3.Init.Standard = I2S_STANDARD_PHILIPS;
  hi2s3.Init.DataFormat = I2S_DATAFORMAT_16B;
  hi2s3.Init.MCLKOutput = I2S_MCLKOUTPUT_ENABLE;
  hi2s3.Init.AudioFreq = I2S_AUDIOFREQ_96K;
  hi2s3.Init.CPOL = I2S_CPOL_LOW;
  hi2s3.Init.ClockSource = I2S_CLOCK_PLL;
  hi2s3.Init.FullDuplexMode = I2S_FULLDUPLEXMODE_DISABLE;
  if (HAL_I2S_Init(&hi2s3) != HAL_OK)
  {
    Error_Handler();
  }

}

static void MX_RNG_Init(void)
{

  hrng.Instance = RNG;
  if (HAL_RNG_Init(&hrng) != HAL_OK)
  {
    Error_Handler();
  }

}

static void MX_SPI1_Init(void)
{

  /* SPI1 parameter configuration*/
  hspi1.Instance = SPI1;
  hspi1.Init.Mode = SPI_MODE_MASTER;
  hspi1.Init.Direction = SPI_DIRECTION_2LINES;
  hspi1.Init.DataSize = SPI_DATASIZE_8BIT;
  hspi1.Init.CLKPolarity = SPI_POLARITY_LOW;
  hspi1.Init.CLKPhase = SPI_PHASE_1EDGE;
  hspi1.Init.NSS = SPI_NSS_SOFT;
  hspi1.Init.BaudRatePrescaler = SPI_BAUDRATEPRESCALER_2;
  hspi1.Init.FirstBit = SPI_FIRSTBIT_MSB;
  hspi1.Init.TIMode = SPI_TIMODE_DISABLE;
  hspi1.Init.CRCCalculation = SPI_CRCCALCULATION_DISABLE;
  hspi1.Init.CRCPolynomial = 10;
  if (HAL_SPI_Init(&hspi1) != HAL_OK)
  {
    Error_Handler();
  }

}

static void MX_GPIO_Init(void)
{
  GPIO_InitTypeDef GPIO_InitStruct = {0};

  /* GPIO Ports Clock Enable */
  __HAL_RCC_GPIOE_CLK_ENABLE();
  __HAL_RCC_GPIOC_CLK_ENABLE();
  __HAL_RCC_GPIOH_CLK_ENABLE();
  __HAL_RCC_GPIOA_CLK_ENABLE();
  __HAL_RCC_GPIOB_CLK_ENABLE();
  __HAL_RCC_GPIOD_CLK_ENABLE();

  /*Configure GPIO pin Output Level */
  HAL_GPIO_WritePin(CS_I2C_SPI_GPIO_Port, CS_I2C_SPI_Pin, GPIO_PIN_RESET);

  /*Configure GPIO pin Output Level */
  HAL_GPIO_WritePin(OTG_FS_PowerSwitchOn_GPIO_Port, OTG_FS_PowerSwitchOn_Pin, GPIO_PIN_SET);

  /*Configure GPIO pin Output Level */
  HAL_GPIO_WritePin(GPIOD, LD4_Pin|LD3_Pin|LD5_Pin|LD6_Pin
                          |Audio_RST_Pin, GPIO_PIN_RESET);

  /*Configure GPIO pin : CS_I2C_SPI_Pin */
  GPIO_InitStruct.Pin = CS_I2C_SPI_Pin;
  GPIO_InitStruct.Mode = GPIO_MODE_OUTPUT_PP;
  GPIO_InitStruct.Pull = GPIO_NOPULL;
  GPIO_InitStruct.Speed = GPIO_SPEED_FREQ_LOW;
  HAL_GPIO_Init(CS_I2C_SPI_GPIO_Port, &GPIO_InitStruct);

  /*Configure GPIO pin : OTG_FS_PowerSwitchOn_Pin */
  GPIO_InitStruct.Pin = OTG_FS_PowerSwitchOn_Pin;
  GPIO_InitStruct.Mode = GPIO_MODE_OUTPUT_PP;
  GPIO_InitStruct.Pull = GPIO_NOPULL;
  GPIO_InitStruct.Speed = GPIO_SPEED_FREQ_LOW;
  HAL_GPIO_Init(OTG_FS_PowerSwitchOn_GPIO_Port, &GPIO_InitStruct);

  /*Configure GPIO pin : PDM_OUT_Pin */
  GPIO_InitStruct.Pin = PDM_OUT_Pin;
  GPIO_InitStruct.Mode = GPIO_MODE_AF_PP;
  GPIO_InitStruct.Pull = GPIO_NOPULL;
  GPIO_InitStruct.Speed = GPIO_SPEED_FREQ_LOW;
  GPIO_InitStruct.Alternate = GPIO_AF5_SPI2;
  HAL_GPIO_Init(PDM_OUT_GPIO_Port, &GPIO_InitStruct);

  /*Configure GPIO pin : B1_Pin */
  GPIO_InitStruct.Pin = B1_Pin;
  GPIO_InitStruct.Mode = GPIO_MODE_EVT_RISING;
  GPIO_InitStruct.Pull = GPIO_NOPULL;
  HAL_GPIO_Init(B1_GPIO_Port, &GPIO_InitStruct);

  /*Configure GPIO pin : BOOT1_Pin */
  GPIO_InitStruct.Pin = BOOT1_Pin;
  GPIO_InitStruct.Mode = GPIO_MODE_INPUT;
  GPIO_InitStruct.Pull = GPIO_NOPULL;
  HAL_GPIO_Init(BOOT1_GPIO_Port, &GPIO_InitStruct);

  /*Configure GPIO pin : CLK_IN_Pin */
  GPIO_InitStruct.Pin = CLK_IN_Pin;
  GPIO_InitStruct.Mode = GPIO_MODE_AF_PP;
  GPIO_InitStruct.Pull = GPIO_NOPULL;
  GPIO_InitStruct.Speed = GPIO_SPEED_FREQ_LOW;
  GPIO_InitStruct.Alternate = GPIO_AF5_SPI2;
  HAL_GPIO_Init(CLK_IN_GPIO_Port, &GPIO_InitStruct);

  /*Configure GPIO pins : LD4_Pin LD3_Pin LD5_Pin LD6_Pin
                           Audio_RST_Pin */
  GPIO_InitStruct.Pin = LD4_Pin|LD3_Pin|LD5_Pin|LD6_Pin
                          |Audio_RST_Pin;
  GPIO_InitStruct.Mode = GPIO_MODE_OUTPUT_PP;
  GPIO_InitStruct.Pull = GPIO_NOPULL;
  GPIO_InitStruct.Speed = GPIO_SPEED_FREQ_LOW;
  HAL_GPIO_Init(GPIOD, &GPIO_InitStruct);

  /*Configure GPIO pin : OTG_FS_OverCurrent_Pin */
  GPIO_InitStruct.Pin = OTG_FS_OverCurrent_Pin;
  GPIO_InitStruct.Mode = GPIO_MODE_INPUT;
  GPIO_InitStruct.Pull = GPIO_NOPULL;
  HAL_GPIO_Init(OTG_FS_OverCurrent_GPIO_Port, &GPIO_InitStruct);

  /*Configure GPIO pin : MEMS_INT2_Pin */
  GPIO_InitStruct.Pin = MEMS_INT2_Pin;
  GPIO_InitStruct.Mode = GPIO_MODE_EVT_RISING;
  GPIO_InitStruct.Pull = GPIO_NOPULL;
  HAL_GPIO_Init(MEMS_INT2_GPIO_Port, &GPIO_InitStruct);

}

void Error_Handler(void)
{
  __disable_irq();
  while (1)
  {
  }
}
